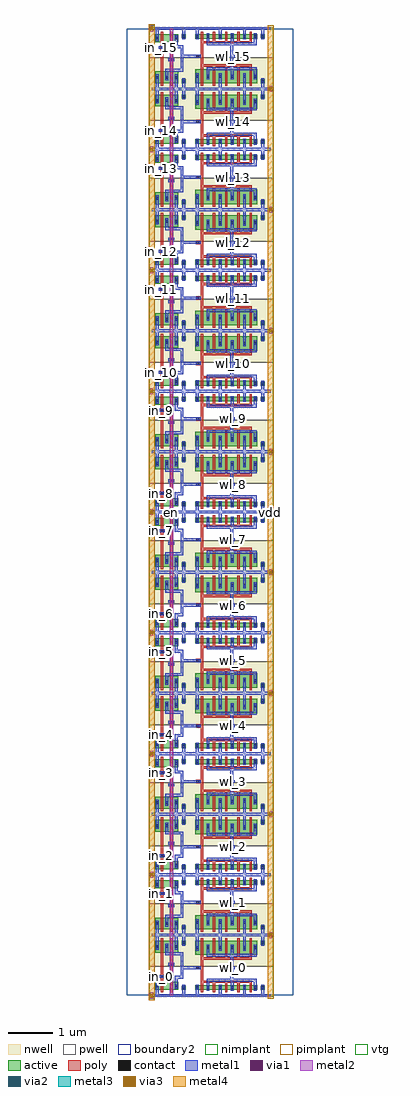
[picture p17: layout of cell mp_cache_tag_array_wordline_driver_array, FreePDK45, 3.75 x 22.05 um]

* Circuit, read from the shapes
.subckt mp_cache_tag_array_wordline_driver_array en gnd in_0 in_1 in_10 in_11 in_12 in_13 in_14 in_15 in_2 in_3 in_4 in_5 in_6 in_7 in_8 in_9 vdd wl_0 wl_1 wl_10 wl_11 wl_12 wl_13 wl_14 wl_15 wl_2 wl_3 wl_4 wl_5 wl_6 wl_7 wl_8 wl_9
M1 mp_cache_tag_array_wordline_driver_0/mp_cache_tag_array_pnand2_0/mp_cache_tag_array_nmos_m1_w0_180_sm1_dactive_2/D in_0 gnd gnd nfet w=0.18u l=0.05u
M2 mp_cache_tag_array_wordline_driver_1/mp_cache_tag_array_pnand2_0/mp_cache_tag_array_nmos_m1_w0_180_sm1_dactive_2/D in_1 gnd gnd nfet w=0.18u l=0.05u
M3 mp_cache_tag_array_wordline_driver_2/mp_cache_tag_array_pnand2_0/mp_cache_tag_array_nmos_m1_w0_180_sm1_dactive_2/D in_2 gnd gnd nfet w=0.18u l=0.05u
M4 mp_cache_tag_array_wordline_driver_3/mp_cache_tag_array_pnand2_0/mp_cache_tag_array_nmos_m1_w0_180_sm1_dactive_2/D in_3 gnd gnd nfet w=0.18u l=0.05u
M5 mp_cache_tag_array_wordline_driver_4/mp_cache_tag_array_pnand2_0/mp_cache_tag_array_nmos_m1_w0_180_sm1_dactive_2/D in_4 gnd gnd nfet w=0.18u l=0.05u
M6 mp_cache_tag_array_wordline_driver_5/mp_cache_tag_array_pnand2_0/mp_cache_tag_array_nmos_m1_w0_180_sm1_dactive_2/D in_5 gnd gnd nfet w=0.18u l=0.05u
M7 mp_cache_tag_array_wordline_driver_6/mp_cache_tag_array_pnand2_0/mp_cache_tag_array_nmos_m1_w0_180_sm1_dactive_2/D in_6 gnd gnd nfet w=0.18u l=0.05u
M8 mp_cache_tag_array_wordline_driver_7/mp_cache_tag_array_pnand2_0/mp_cache_tag_array_nmos_m1_w0_180_sm1_dactive_2/D in_7 gnd gnd nfet w=0.18u l=0.05u
M9 mp_cache_tag_array_wordline_driver_8/mp_cache_tag_array_pnand2_0/mp_cache_tag_array_nmos_m1_w0_180_sm1_dactive_2/D in_8 gnd gnd nfet w=0.18u l=0.05u
M10 mp_cache_tag_array_wordline_driver_9/mp_cache_tag_array_pnand2_0/mp_cache_tag_array_nmos_m1_w0_180_sm1_dactive_2/D in_9 gnd gnd nfet w=0.18u l=0.05u
M11 mp_cache_tag_array_wordline_driver_10/mp_cache_tag_array_pnand2_0/mp_cache_tag_array_nmos_m1_w0_180_sm1_dactive_2/D in_10 gnd gnd nfet w=0.18u l=0.05u
M12 mp_cache_tag_array_wordline_driver_11/mp_cache_tag_array_pnand2_0/mp_cache_tag_array_nmos_m1_w0_180_sm1_dactive_2/D in_11 gnd gnd nfet w=0.18u l=0.05u
M13 mp_cache_tag_array_wordline_driver_12/mp_cache_tag_array_pnand2_0/mp_cache_tag_array_nmos_m1_w0_180_sm1_dactive_2/D in_12 gnd gnd nfet w=0.18u l=0.05u
M14 mp_cache_tag_array_wordline_driver_13/mp_cache_tag_array_pnand2_0/mp_cache_tag_array_nmos_m1_w0_180_sm1_dactive_2/D in_13 gnd gnd nfet w=0.18u l=0.05u
M15 mp_cache_tag_array_wordline_driver_14/mp_cache_tag_array_pnand2_0/mp_cache_tag_array_nmos_m1_w0_180_sm1_dactive_2/D in_14 gnd gnd nfet w=0.18u l=0.05u
M16 mp_cache_tag_array_wordline_driver_15/mp_cache_tag_array_pnand2_0/mp_cache_tag_array_nmos_m1_w0_180_sm1_dactive_2/D in_15 gnd gnd nfet w=0.18u l=0.05u
M17 mp_cache_tag_array_wordline_driver_0/mp_cache_tag_array_pinv_0_1/A en mp_cache_tag_array_wordline_driver_0/mp_cache_tag_array_pnand2_0/mp_cache_tag_array_nmos_m1_w0_180_sm1_dactive_2/D gnd nfet w=0.18u l=0.05u
M18 mp_cache_tag_array_wordline_driver_1/mp_cache_tag_array_pinv_0_1/A en mp_cache_tag_array_wordline_driver_1/mp_cache_tag_array_pnand2_0/mp_cache_tag_array_nmos_m1_w0_180_sm1_dactive_2/D gnd nfet w=0.18u l=0.05u
M19 mp_cache_tag_array_wordline_driver_2/mp_cache_tag_array_pinv_0_1/A en mp_cache_tag_array_wordline_driver_2/mp_cache_tag_array_pnand2_0/mp_cache_tag_array_nmos_m1_w0_180_sm1_dactive_2/D gnd nfet w=0.18u l=0.05u
M20 mp_cache_tag_array_wordline_driver_3/mp_cache_tag_array_pinv_0_1/A en mp_cache_tag_array_wordline_driver_3/mp_cache_tag_array_pnand2_0/mp_cache_tag_array_nmos_m1_w0_180_sm1_dactive_2/D gnd nfet w=0.18u l=0.05u
M21 mp_cache_tag_array_wordline_driver_4/mp_cache_tag_array_pinv_0_1/A en mp_cache_tag_array_wordline_driver_4/mp_cache_tag_array_pnand2_0/mp_cache_tag_array_nmos_m1_w0_180_sm1_dactive_2/D gnd nfet w=0.18u l=0.05u
M22 mp_cache_tag_array_wordline_driver_5/mp_cache_tag_array_pinv_0_1/A en mp_cache_tag_array_wordline_driver_5/mp_cache_tag_array_pnand2_0/mp_cache_tag_array_nmos_m1_w0_180_sm1_dactive_2/D gnd nfet w=0.18u l=0.05u
M23 mp_cache_tag_array_wordline_driver_6/mp_cache_tag_array_pinv_0_1/A en mp_cache_tag_array_wordline_driver_6/mp_cache_tag_array_pnand2_0/mp_cache_tag_array_nmos_m1_w0_180_sm1_dactive_2/D gnd nfet w=0.18u l=0.05u
M24 mp_cache_tag_array_wordline_driver_7/mp_cache_tag_array_pinv_0_1/A en mp_cache_tag_array_wordline_driver_7/mp_cache_tag_array_pnand2_0/mp_cache_tag_array_nmos_m1_w0_180_sm1_dactive_2/D gnd nfet w=0.18u l=0.05u
M25 mp_cache_tag_array_wordline_driver_8/mp_cache_tag_array_pinv_0_1/A en mp_cache_tag_array_wordline_driver_8/mp_cache_tag_array_pnand2_0/mp_cache_tag_array_nmos_m1_w0_180_sm1_dactive_2/D gnd nfet w=0.18u l=0.05u
M26 mp_cache_tag_array_wordline_driver_9/mp_cache_tag_array_pinv_0_1/A en mp_cache_tag_array_wordline_driver_9/mp_cache_tag_array_pnand2_0/mp_cache_tag_array_nmos_m1_w0_180_sm1_dactive_2/D gnd nfet w=0.18u l=0.05u
M27 mp_cache_tag_array_wordline_driver_10/mp_cache_tag_array_pinv_0_1/A en mp_cache_tag_array_wordline_driver_10/mp_cache_tag_array_pnand2_0/mp_cache_tag_array_nmos_m1_w0_180_sm1_dactive_2/D gnd nfet w=0.18u l=0.05u
M28 mp_cache_tag_array_wordline_driver_11/mp_cache_tag_array_pinv_0_1/A en mp_cache_tag_array_wordline_driver_11/mp_cache_tag_array_pnand2_0/mp_cache_tag_array_nmos_m1_w0_180_sm1_dactive_2/D gnd nfet w=0.18u l=0.05u
M29 mp_cache_tag_array_wordline_driver_12/mp_cache_tag_array_pinv_0_1/A en mp_cache_tag_array_wordline_driver_12/mp_cache_tag_array_pnand2_0/mp_cache_tag_array_nmos_m1_w0_180_sm1_dactive_2/D gnd nfet w=0.18u l=0.05u
M30 mp_cache_tag_array_wordline_driver_13/mp_cache_tag_array_pinv_0_1/A en mp_cache_tag_array_wordline_driver_13/mp_cache_tag_array_pnand2_0/mp_cache_tag_array_nmos_m1_w0_180_sm1_dactive_2/D gnd nfet w=0.18u l=0.05u
M31 mp_cache_tag_array_wordline_driver_14/mp_cache_tag_array_pinv_0_1/A en mp_cache_tag_array_wordline_driver_14/mp_cache_tag_array_pnand2_0/mp_cache_tag_array_nmos_m1_w0_180_sm1_dactive_2/D gnd nfet w=0.18u l=0.05u
M32 mp_cache_tag_array_wordline_driver_15/mp_cache_tag_array_pinv_0_1/A en mp_cache_tag_array_wordline_driver_15/mp_cache_tag_array_pnand2_0/mp_cache_tag_array_nmos_m1_w0_180_sm1_dactive_2/D gnd nfet w=0.18u l=0.05u
M33 wl_0 mp_cache_tag_array_wordline_driver_0/mp_cache_tag_array_pinv_0_1/A gnd gnd nfet w=0.1075u l=0.05u m=5
M34 wl_1 mp_cache_tag_array_wordline_driver_1/mp_cache_tag_array_pinv_0_1/A gnd gnd nfet w=0.1075u l=0.05u m=5
M35 wl_2 mp_cache_tag_array_wordline_driver_2/mp_cache_tag_array_pinv_0_1/A gnd gnd nfet w=0.1075u l=0.05u m=5
M36 wl_3 mp_cache_tag_array_wordline_driver_3/mp_cache_tag_array_pinv_0_1/A gnd gnd nfet w=0.1075u l=0.05u m=5
M37 wl_4 mp_cache_tag_array_wordline_driver_4/mp_cache_tag_array_pinv_0_1/A gnd gnd nfet w=0.1075u l=0.05u m=5
M38 wl_5 mp_cache_tag_array_wordline_driver_5/mp_cache_tag_array_pinv_0_1/A gnd gnd nfet w=0.1075u l=0.05u m=5
M39 wl_6 mp_cache_tag_array_wordline_driver_6/mp_cache_tag_array_pinv_0_1/A gnd gnd nfet w=0.1075u l=0.05u m=5
M40 wl_7 mp_cache_tag_array_wordline_driver_7/mp_cache_tag_array_pinv_0_1/A gnd gnd nfet w=0.1075u l=0.05u m=5
M41 wl_8 mp_cache_tag_array_wordline_driver_8/mp_cache_tag_array_pinv_0_1/A gnd gnd nfet w=0.1075u l=0.05u m=5
M42 wl_9 mp_cache_tag_array_wordline_driver_9/mp_cache_tag_array_pinv_0_1/A gnd gnd nfet w=0.1075u l=0.05u m=5
M43 wl_10 mp_cache_tag_array_wordline_driver_10/mp_cache_tag_array_pinv_0_1/A gnd gnd nfet w=0.1075u l=0.05u m=5
M44 wl_11 mp_cache_tag_array_wordline_driver_11/mp_cache_tag_array_pinv_0_1/A gnd gnd nfet w=0.1075u l=0.05u m=5
M45 wl_12 mp_cache_tag_array_wordline_driver_12/mp_cache_tag_array_pinv_0_1/A gnd gnd nfet w=0.1075u l=0.05u m=5
M46 wl_13 mp_cache_tag_array_wordline_driver_13/mp_cache_tag_array_pinv_0_1/A gnd gnd nfet w=0.1075u l=0.05u m=5
M47 wl_14 mp_cache_tag_array_wordline_driver_14/mp_cache_tag_array_pinv_0_1/A gnd gnd nfet w=0.1075u l=0.05u m=5
M48 wl_15 mp_cache_tag_array_wordline_driver_15/mp_cache_tag_array_pinv_0_1/A gnd gnd nfet w=0.1075u l=0.05u m=5
M49 mp_cache_tag_array_wordline_driver_0/mp_cache_tag_array_pinv_0_1/A in_0 vdd vdd pfet w=0.27u l=0.05u
M50 mp_cache_tag_array_wordline_driver_1/mp_cache_tag_array_pinv_0_1/A in_1 vdd vdd pfet w=0.27u l=0.05u
M51 mp_cache_tag_array_wordline_driver_2/mp_cache_tag_array_pinv_0_1/A in_2 vdd vdd pfet w=0.27u l=0.05u
M52 mp_cache_tag_array_wordline_driver_3/mp_cache_tag_array_pinv_0_1/A in_3 vdd vdd pfet w=0.27u l=0.05u
M53 mp_cache_tag_array_wordline_driver_4/mp_cache_tag_array_pinv_0_1/A in_4 vdd vdd pfet w=0.27u l=0.05u
M54 mp_cache_tag_array_wordline_driver_5/mp_cache_tag_array_pinv_0_1/A in_5 vdd vdd pfet w=0.27u l=0.05u
M55 mp_cache_tag_array_wordline_driver_6/mp_cache_tag_array_pinv_0_1/A in_6 vdd vdd pfet w=0.27u l=0.05u
M56 mp_cache_tag_array_wordline_driver_7/mp_cache_tag_array_pinv_0_1/A in_7 vdd vdd pfet w=0.27u l=0.05u
M57 mp_cache_tag_array_wordline_driver_8/mp_cache_tag_array_pinv_0_1/A in_8 vdd vdd pfet w=0.27u l=0.05u
M58 mp_cache_tag_array_wordline_driver_9/mp_cache_tag_array_pinv_0_1/A in_9 vdd vdd pfet w=0.27u l=0.05u
M59 mp_cache_tag_array_wordline_driver_10/mp_cache_tag_array_pinv_0_1/A in_10 vdd vdd pfet w=0.27u l=0.05u
M60 mp_cache_tag_array_wordline_driver_11/mp_cache_tag_array_pinv_0_1/A in_11 vdd vdd pfet w=0.27u l=0.05u
M61 mp_cache_tag_array_wordline_driver_12/mp_cache_tag_array_pinv_0_1/A in_12 vdd vdd pfet w=0.27u l=0.05u
M62 mp_cache_tag_array_wordline_driver_13/mp_cache_tag_array_pinv_0_1/A in_13 vdd vdd pfet w=0.27u l=0.05u
M63 mp_cache_tag_array_wordline_driver_14/mp_cache_tag_array_pinv_0_1/A in_14 vdd vdd pfet w=0.27u l=0.05u
M64 mp_cache_tag_array_wordline_driver_15/mp_cache_tag_array_pinv_0_1/A in_15 vdd vdd pfet w=0.27u l=0.05u
M65 vdd en mp_cache_tag_array_wordline_driver_0/mp_cache_tag_array_pinv_0_1/A vdd pfet w=0.27u l=0.05u
M66 vdd en mp_cache_tag_array_wordline_driver_1/mp_cache_tag_array_pinv_0_1/A vdd pfet w=0.27u l=0.05u
M67 vdd en mp_cache_tag_array_wordline_driver_2/mp_cache_tag_array_pinv_0_1/A vdd pfet w=0.27u l=0.05u
M68 vdd en mp_cache_tag_array_wordline_driver_3/mp_cache_tag_array_pinv_0_1/A vdd pfet w=0.27u l=0.05u
M69 vdd en mp_cache_tag_array_wordline_driver_4/mp_cache_tag_array_pinv_0_1/A vdd pfet w=0.27u l=0.05u
M70 vdd en mp_cache_tag_array_wordline_driver_5/mp_cache_tag_array_pinv_0_1/A vdd pfet w=0.27u l=0.05u
M71 vdd en mp_cache_tag_array_wordline_driver_6/mp_cache_tag_array_pinv_0_1/A vdd pfet w=0.27u l=0.05u
M72 vdd en mp_cache_tag_array_wordline_driver_7/mp_cache_tag_array_pinv_0_1/A vdd pfet w=0.27u l=0.05u
M73 vdd en mp_cache_tag_array_wordline_driver_8/mp_cache_tag_array_pinv_0_1/A vdd pfet w=0.27u l=0.05u
M74 vdd en mp_cache_tag_array_wordline_driver_9/mp_cache_tag_array_pinv_0_1/A vdd pfet w=0.27u l=0.05u
M75 vdd en mp_cache_tag_array_wordline_driver_10/mp_cache_tag_array_pinv_0_1/A vdd pfet w=0.27u l=0.05u
M76 vdd en mp_cache_tag_array_wordline_driver_11/mp_cache_tag_array_pinv_0_1/A vdd pfet w=0.27u l=0.05u
M77 vdd en mp_cache_tag_array_wordline_driver_12/mp_cache_tag_array_pinv_0_1/A vdd pfet w=0.27u l=0.05u
M78 vdd en mp_cache_tag_array_wordline_driver_13/mp_cache_tag_array_pinv_0_1/A vdd pfet w=0.27u l=0.05u
M79 vdd en mp_cache_tag_array_wordline_driver_14/mp_cache_tag_array_pinv_0_1/A vdd pfet w=0.27u l=0.05u
M80 vdd en mp_cache_tag_array_wordline_driver_15/mp_cache_tag_array_pinv_0_1/A vdd pfet w=0.27u l=0.05u
M81 wl_0 mp_cache_tag_array_wordline_driver_0/mp_cache_tag_array_pinv_0_1/A vdd vdd pfet w=0.325u l=0.05u m=5
M82 wl_1 mp_cache_tag_array_wordline_driver_1/mp_cache_tag_array_pinv_0_1/A vdd vdd pfet w=0.325u l=0.05u m=5
M83 wl_2 mp_cache_tag_array_wordline_driver_2/mp_cache_tag_array_pinv_0_1/A vdd vdd pfet w=0.325u l=0.05u m=5
M84 wl_3 mp_cache_tag_array_wordline_driver_3/mp_cache_tag_array_pinv_0_1/A vdd vdd pfet w=0.325u l=0.05u m=5
M85 wl_4 mp_cache_tag_array_wordline_driver_4/mp_cache_tag_array_pinv_0_1/A vdd vdd pfet w=0.325u l=0.05u m=5
M86 wl_5 mp_cache_tag_array_wordline_driver_5/mp_cache_tag_array_pinv_0_1/A vdd vdd pfet w=0.325u l=0.05u m=5
M87 wl_6 mp_cache_tag_array_wordline_driver_6/mp_cache_tag_array_pinv_0_1/A vdd vdd pfet w=0.325u l=0.05u m=5
M88 wl_7 mp_cache_tag_array_wordline_driver_7/mp_cache_tag_array_pinv_0_1/A vdd vdd pfet w=0.325u l=0.05u m=5
M89 wl_8 mp_cache_tag_array_wordline_driver_8/mp_cache_tag_array_pinv_0_1/A vdd vdd pfet w=0.325u l=0.05u m=5
M90 wl_9 mp_cache_tag_array_wordline_driver_9/mp_cache_tag_array_pinv_0_1/A vdd vdd pfet w=0.325u l=0.05u m=5
M91 wl_10 mp_cache_tag_array_wordline_driver_10/mp_cache_tag_array_pinv_0_1/A vdd vdd pfet w=0.325u l=0.05u m=5
M92 wl_11 mp_cache_tag_array_wordline_driver_11/mp_cache_tag_array_pinv_0_1/A vdd vdd pfet w=0.325u l=0.05u m=5
M93 wl_12 mp_cache_tag_array_wordline_driver_12/mp_cache_tag_array_pinv_0_1/A vdd vdd pfet w=0.325u l=0.05u m=5
M94 wl_13 mp_cache_tag_array_wordline_driver_13/mp_cache_tag_array_pinv_0_1/A vdd vdd pfet w=0.325u l=0.05u m=5
M95 wl_14 mp_cache_tag_array_wordline_driver_14/mp_cache_tag_array_pinv_0_1/A vdd vdd pfet w=0.325u l=0.05u m=5
M96 wl_15 mp_cache_tag_array_wordline_driver_15/mp_cache_tag_array_pinv_0_1/A vdd vdd pfet w=0.325u l=0.05u m=5
.ends

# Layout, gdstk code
import gdstk
lib = gdstk.Library(unit=1e-6, precision=5e-10)
def R(c, l, rs):  # rectangles x0, y0, x1, y1
    for r in rs: c.add(gdstk.rectangle(r[:2], r[2:], *l))
def A(c, l, x, y, w, h, nx, ny, dx, dy):  # array of equal rectangles
    R(c, l, [(x+i*dx, y+j*dy, x+i*dx+w, y+j*dy+h) for i in range(nx) for j in range(ny)])
active = (1, 0)
pwell = (2, 0)
nwell = (3, 0)
nimplant = (4, 0)
pimplant = (5, 0)
vtg = (6, 0)
poly = (9, 0)
contact = (10, 0)
metal1 = (11, 0)
via1 = (12, 0)
metal2 = (13, 0)
via2 = (14, 0)
metal3 = (15, 0)
via3 = (16, 0)
metal4 = (17, 0)
boundary2 = (239, 0)

mp_cache_tag_array_conta = lib.new_cell('mp_cache_tag_array_contact_11')
R(mp_cache_tag_array_conta, active, [(0,0.0225,0.09,0.1125)])
R(mp_cache_tag_array_conta, nwell, [(-0.055,-0.0325,0.145,0.1675)])
R(mp_cache_tag_array_conta, pimplant, [(0,0.0225,0.09,0.1125)])
R(mp_cache_tag_array_conta, contact, [(0.0125,0.035,0.0775,0.1)])
R(mp_cache_tag_array_conta, metal1, [(0.0125,0,0.0775,0.135)])
R(mp_cache_tag_array_conta, boundary2, [(-0.055,-0.0325,0.145,0.1675)])

mp_cache_tag_array_pmos_ = lib.new_cell('mp_cache_tag_array_pmos_m1_w0_270_sm1_dm1')
R(mp_cache_tag_array_pmos_, active, [(0,0,0.305,0.27)])
R(mp_cache_tag_array_pmos_, nwell, [(-0.08,-0.08,0.385,0.35)])
R(mp_cache_tag_array_pmos_, pimplant, [(0,0,0.305,0.27)])
R(mp_cache_tag_array_pmos_, vtg, [(-0.08,-0.08,0.385,0.35)])
R(mp_cache_tag_array_pmos_, poly, [(0.1275,-0.055,0.1775,0.325), (0.1275,-0.055,0.1775,0.325)])
R(mp_cache_tag_array_pmos_, metal1, [(0.0125,0.0675,0.0775,0.2025), (0.2275,0.0675,0.2925,0.2025)])
R(mp_cache_tag_array_pmos_, boundary2, [(-0.08,-0.08,0.385,0.35)])
mp_cache_tag_array_pmos_.add(gdstk.Reference(mp_cache_tag_array_conta, (0,0.0675)))
mp_cache_tag_array_pmos_.add(gdstk.Reference(mp_cache_tag_array_conta, (0.215,0.0675)))
mp_cache_tag_array_pmos_.add(gdstk.Label('G', (0.1525,0.135), layer=9, texttype=0))
mp_cache_tag_array_pmos_.add(gdstk.Label('S', (0.045,0.135), layer=11, texttype=0))
mp_cache_tag_array_pmos_.add(gdstk.Label('D', (0.26,0.135), layer=11, texttype=0))

c_mp_cache_tag_array_conta = lib.new_cell('mp_cache_tag_array_contact_10')
R(c_mp_cache_tag_array_conta, active, [(0,0.0225,0.09,0.1125)])
R(c_mp_cache_tag_array_conta, pwell, [(-0.055,-0.0325,0.145,0.1675)])
R(c_mp_cache_tag_array_conta, nimplant, [(0,0.0225,0.09,0.1125)])
R(c_mp_cache_tag_array_conta, contact, [(0.0125,0.035,0.0775,0.1)])
R(c_mp_cache_tag_array_conta, metal1, [(0.0125,0,0.0775,0.135)])
R(c_mp_cache_tag_array_conta, boundary2, [(-0.055,-0.0325,0.145,0.1675)])

mp_cache_tag_array_nmos_ = lib.new_cell('mp_cache_tag_array_nmos_m1_w0_180_sm1_dactive')
R(mp_cache_tag_array_nmos_, active, [(0,0,0.305,0.18), (0.215,0.045,0.305,0.135)])
R(mp_cache_tag_array_nmos_, pwell, [(-0.08,-0.08,0.385,0.26)])
R(mp_cache_tag_array_nmos_, nimplant, [(0,0,0.305,0.18)])
R(mp_cache_tag_array_nmos_, vtg, [(-0.08,-0.08,0.385,0.26)])
R(mp_cache_tag_array_nmos_, poly, [(0.1275,-0.055,0.1775,0.235), (0.1275,-0.055,0.1775,0.235)])
R(mp_cache_tag_array_nmos_, metal1, [(0.0125,0.0225,0.0775,0.1575)])
R(mp_cache_tag_array_nmos_, boundary2, [(-0.08,-0.08,0.385,0.26)])
mp_cache_tag_array_nmos_.add(gdstk.Reference(c_mp_cache_tag_array_conta, (0,0.0225)))
mp_cache_tag_array_nmos_.add(gdstk.Label('G', (0.1525,0.09), layer=9, texttype=0))
mp_cache_tag_array_nmos_.add(gdstk.Label('S', (0.045,0.09), layer=11, texttype=0))
mp_cache_tag_array_nmos_.add(gdstk.Label('D', (0.26,0.09), layer=1, texttype=0))

c_mp_cache_tag_array_nmos_ = lib.new_cell('mp_cache_tag_array_nmos_m1_w0_180_sactive_dm1')
R(c_mp_cache_tag_array_nmos_, active, [(0,0,0.305,0.18), (0,0.045,0.09,0.135)])
R(c_mp_cache_tag_array_nmos_, pwell, [(-0.08,-0.08,0.385,0.26)])
R(c_mp_cache_tag_array_nmos_, nimplant, [(0,0,0.305,0.18)])
R(c_mp_cache_tag_array_nmos_, vtg, [(-0.08,-0.08,0.385,0.26)])
R(c_mp_cache_tag_array_nmos_, poly, [(0.1275,-0.055,0.1775,0.235), (0.1275,-0.055,0.1775,0.235)])
R(c_mp_cache_tag_array_nmos_, metal1, [(0.2275,0.0225,0.2925,0.1575)])
R(c_mp_cache_tag_array_nmos_, boundary2, [(-0.08,-0.08,0.385,0.26)])
c_mp_cache_tag_array_nmos_.add(gdstk.Reference(c_mp_cache_tag_array_conta, (0.215,0.0225)))
c_mp_cache_tag_array_nmos_.add(gdstk.Label('G', (0.1525,0.09), layer=9, texttype=0))
c_mp_cache_tag_array_nmos_.add(gdstk.Label('S', (0.045,0.09), layer=1, texttype=0))
c_mp_cache_tag_array_nmos_.add(gdstk.Label('D', (0.26,0.09), layer=11, texttype=0))

c_mp_cache_tag_array_conta_ = lib.new_cell('mp_cache_tag_array_contact_12')
R(c_mp_cache_tag_array_conta_, active, [(0,0.0225,0.09,0.1125)])
R(c_mp_cache_tag_array_conta_, nwell, [(-0.055,-0.0325,0.145,0.1675)])
R(c_mp_cache_tag_array_conta_, nimplant, [(0,0.0225,0.09,0.1125)])
R(c_mp_cache_tag_array_conta_, contact, [(0.0125,0.035,0.0775,0.1)])
R(c_mp_cache_tag_array_conta_, metal1, [(0.0125,0,0.0775,0.135)])
R(c_mp_cache_tag_array_conta_, boundary2, [(-0.055,-0.0325,0.145,0.1675)])

c_mp_cache_tag_array_conta__ = lib.new_cell('mp_cache_tag_array_contact_13')
R(c_mp_cache_tag_array_conta__, active, [(0,0.0225,0.09,0.1125)])
R(c_mp_cache_tag_array_conta__, pwell, [(-0.055,-0.0325,0.145,0.1675)])
R(c_mp_cache_tag_array_conta__, pimplant, [(0,0.0225,0.09,0.1125)])
R(c_mp_cache_tag_array_conta__, contact, [(0.0125,0.035,0.0775,0.1)])
R(c_mp_cache_tag_array_conta__, metal1, [(0.0125,0,0.0775,0.135)])
R(c_mp_cache_tag_array_conta__, boundary2, [(-0.055,-0.0325,0.145,0.1675)])

c_mp_cache_tag_array_conta___ = lib.new_cell('mp_cache_tag_array_contact_14')
R(c_mp_cache_tag_array_conta___, poly, [(0.03,0,0.105,0.075)])
R(c_mp_cache_tag_array_conta___, contact, [(0.035,0.005,0.1,0.07)])
R(c_mp_cache_tag_array_conta___, metal1, [(0,0.005,0.135,0.07)])
R(c_mp_cache_tag_array_conta___, boundary2, [(0,0,0.135,0.075)])

mp_cache_tag_array_pnand = lib.new_cell('mp_cache_tag_array_pnand2')
R(mp_cache_tag_array_pnand, pwell, [(-0.055,-0.0325,0.9575,0.655)])
R(mp_cache_tag_array_pnand, nwell, [(-0.055,0.655,0.9575,1.4)])
R(mp_cache_tag_array_pnand, vtg, [(-0.055,-0.0325,0.9575,0.655), (-0.055,0.655,0.9575,1.4)])
R(mp_cache_tag_array_pnand, poly, [(0.2075,0.36,0.2575,0.915), (0.4225,0.36,0.4725,0.915), (0.2075,0.39,0.2325,0.465), (0.4225,0.67,0.4475,0.745)])
R(mp_cache_tag_array_pnand, metal1, [(0,-0.0325,0.9025,0.0325), (0.0925,-0.0325,0.1575,0.1475), (0.6925,0,0.7575,0.17), (0.5225,0.2825,0.5875,0.4125), (0.5225,0.38,0.5875,0.445), (0.555,0.38,0.685,0.445), (0.6525,0.38,0.7175,0.445), (0.165,0.395,0.3,0.46), (0.6525,0.4125,0.7175,0.94), (0.38,0.675,0.515,0.74), (0.3075,0.9075,0.3725,0.9725), (0.34,0.9075,0.685,0.9725), (0.6525,0.9075,0.7175,0.9725), (0.3075,0.94,0.3725,1.0375), (0.0925,1.0375,0.1575,1.3975), (0.5225,1.0375,0.5875,1.3975), (0.6925,1.195,0.7575,1.365), (0,1.3325,0.9025,1.3975)])
R(mp_cache_tag_array_pnand, boundary2, [(0,0,0.9025,1.365), (0,0,0.9025,1.365)])
mp_cache_tag_array_pnand.add(gdstk.Reference(mp_cache_tag_array_pmos_, (0.08,0.97)))
mp_cache_tag_array_pnand.add(gdstk.Reference(mp_cache_tag_array_pmos_, (0.295,0.97)))
mp_cache_tag_array_pnand.add(gdstk.Reference(mp_cache_tag_array_nmos_, (0.08,0.125)))
mp_cache_tag_array_pnand.add(gdstk.Reference(c_mp_cache_tag_array_nmos_, (0.295,0.125)))
mp_cache_tag_array_pnand.add(gdstk.Reference(c_mp_cache_tag_array_conta_, (0.68,1.1275)))
mp_cache_tag_array_pnand.add(gdstk.Reference(c_mp_cache_tag_array_conta__, (0.68,0.1025)))
mp_cache_tag_array_pnand.add(gdstk.Reference(c_mp_cache_tag_array_conta___, (0.165,0.39)))
mp_cache_tag_array_pnand.add(gdstk.Reference(c_mp_cache_tag_array_conta___, (0.38,0.67)))
mp_cache_tag_array_pnand.add(gdstk.Label('Z', (0.685,0.94), layer=11, texttype=0))
mp_cache_tag_array_pnand.add(gdstk.Label('gnd', (0.451,0), layer=11, texttype=0))
mp_cache_tag_array_pnand.add(gdstk.Label('vdd', (0.451,1.365), layer=11, texttype=0))
mp_cache_tag_array_pnand.add(gdstk.Label('A', (0.2325,0.4275), layer=11, texttype=0))
mp_cache_tag_array_pnand.add(gdstk.Label('B', (0.4475,0.7075), layer=11, texttype=0))

c_mp_cache_tag_array_pmos_ = lib.new_cell('mp_cache_tag_array_pmos_m5_w0_325_sm1_dm1_da_p')
R(c_mp_cache_tag_array_pmos_, active, [(0,0,1.405,0.325)])
R(c_mp_cache_tag_array_pmos_, nwell, [(-0.08,-0.08,1.485,0.405)])
R(c_mp_cache_tag_array_pmos_, pimplant, [(0,0,1.405,0.325)])
R(c_mp_cache_tag_array_pmos_, vtg, [(-0.08,-0.08,1.485,0.405)])
A(c_mp_cache_tag_array_pmos_, poly, 0.1275, -0.055, 0.05, 0.435, 5, 1, 0.275, 0)
R(c_mp_cache_tag_array_pmos_, poly, [(0.1275,-0.105,1.2775,-0.055)])
R(c_mp_cache_tag_array_pmos_, metal1, [(0.2575,-0.035,1.3925,0.03), (0.2575,-0.0025,0.3225,0.1625), (0.8075,-0.0025,0.8725,0.1625), (1.3275,-0.0025,1.3925,0.1625), (0.0125,0.095,0.0775,0.23), (0.5325,0.095,0.5975,0.23), (1.0825,0.095,1.1475,0.23)])
R(c_mp_cache_tag_array_pmos_, boundary2, [(-0.08,-0.105,1.485,0.405)])
c_mp_cache_tag_array_pmos_.add(gdstk.Reference(mp_cache_tag_array_conta, (0,0.095)))
c_mp_cache_tag_array_pmos_.add(gdstk.Reference(mp_cache_tag_array_conta, (0.245,0.095)))
c_mp_cache_tag_array_pmos_.add(gdstk.Reference(mp_cache_tag_array_conta, (0.52,0.095)))
c_mp_cache_tag_array_pmos_.add(gdstk.Reference(mp_cache_tag_array_conta, (0.795,0.095)))
c_mp_cache_tag_array_pmos_.add(gdstk.Reference(mp_cache_tag_array_conta, (1.07,0.095)))
c_mp_cache_tag_array_pmos_.add(gdstk.Reference(mp_cache_tag_array_conta, (1.315,0.095)))
c_mp_cache_tag_array_pmos_.add(gdstk.Label('G', (0.7025,-0.08), layer=9, texttype=0))
c_mp_cache_tag_array_pmos_.add(gdstk.Label('S', (0.565,0.1625), layer=11, texttype=0))
c_mp_cache_tag_array_pmos_.add(gdstk.Label('S', (0.045,0.1625), layer=11, texttype=0))
c_mp_cache_tag_array_pmos_.add(gdstk.Label('S', (1.115,0.1625), layer=11, texttype=0))
c_mp_cache_tag_array_pmos_.add(gdstk.Label('D', (0.825,-0.0025), layer=11, texttype=0))

c_mp_cache_tag_array_nmos__ = lib.new_cell('mp_cache_tag_array_nmos_m5_w0_107_sm1_dm1_da_p')
R(c_mp_cache_tag_array_nmos__, active, [(0,0,1.405,0.1075)])
R(c_mp_cache_tag_array_nmos__, pwell, [(-0.08,-0.08,1.485,0.1875)])
R(c_mp_cache_tag_array_nmos__, nimplant, [(0,0,1.405,0.1075)])
R(c_mp_cache_tag_array_nmos__, vtg, [(-0.08,-0.08,1.485,0.1875)])
A(c_mp_cache_tag_array_nmos__, poly, 0.1275, -0.055, 0.05, 0.2175, 5, 1, 0.275, 0)
R(c_mp_cache_tag_array_nmos__, poly, [(0.1275,0.1625,1.2775,0.2125)])
R(c_mp_cache_tag_array_nmos__, metal1, [(0.0125,-0.015,0.0775,0.12), (0.5325,-0.015,0.5975,0.12), (1.0825,-0.015,1.1475,0.12), (0.2575,0.055,0.3225,0.22), (0.8075,0.055,0.8725,0.22), (1.3275,0.055,1.3925,0.22), (0.2575,0.185,1.3925,0.25)])
R(c_mp_cache_tag_array_nmos__, boundary2, [(-0.08,-0.08,1.485,0.25)])
c_mp_cache_tag_array_nmos__.add(gdstk.Reference(c_mp_cache_tag_array_conta, (0,-0.015)))
c_mp_cache_tag_array_nmos__.add(gdstk.Reference(c_mp_cache_tag_array_conta, (0.245,-0.015)))
c_mp_cache_tag_array_nmos__.add(gdstk.Reference(c_mp_cache_tag_array_conta, (0.52,-0.015)))
c_mp_cache_tag_array_nmos__.add(gdstk.Reference(c_mp_cache_tag_array_conta, (0.795,-0.015)))
c_mp_cache_tag_array_nmos__.add(gdstk.Reference(c_mp_cache_tag_array_conta, (1.07,-0.015)))
c_mp_cache_tag_array_nmos__.add(gdstk.Reference(c_mp_cache_tag_array_conta, (1.315,-0.015)))
c_mp_cache_tag_array_nmos__.add(gdstk.Label('G', (0.7025,0.1875), layer=9, texttype=0))
c_mp_cache_tag_array_nmos__.add(gdstk.Label('S', (0.565,0.0525), layer=11, texttype=0))
c_mp_cache_tag_array_nmos__.add(gdstk.Label('S', (1.115,0.0525), layer=11, texttype=0))
c_mp_cache_tag_array_nmos__.add(gdstk.Label('S', (0.045,0.0525), layer=11, texttype=0))
c_mp_cache_tag_array_nmos__.add(gdstk.Label('D', (0.825,0.2175), layer=11, texttype=0))

mp_cache_tag_array_pinv_ = lib.new_cell('mp_cache_tag_array_pinv_0')
R(mp_cache_tag_array_pinv_, pwell, [(-0.055,-0.0325,1.8425,0.655)])
R(mp_cache_tag_array_pinv_, nwell, [(-0.055,0.655,1.8425,1.4)])
R(mp_cache_tag_array_pinv_, vtg, [(-0.055,-0.0325,1.8425,0.655), (-0.055,0.655,1.8425,1.4)])
R(mp_cache_tag_array_pinv_, poly, [(0.2075,0.3375,0.2575,0.81), (0.14,0.59,0.2075,0.665)])
R(mp_cache_tag_array_pinv_, metal1, [(0,-0.0325,1.7875,0.0325), (0.0925,-0.0325,0.1575,0.11), (0.6125,-0.0325,0.6775,0.11), (1.1625,-0.0325,1.2275,0.11), (1.5775,0,1.6425,0.17), (0.8725,0.31,0.9375,0.945), (0.0725,0.595,0.2075,0.66), (0.905,0.595,0.97,0.66), (0.0925,1.01,0.1575,1.3975), (0.6125,1.01,0.6775,1.3975), (1.1625,1.01,1.2275,1.3975), (1.5775,1.195,1.6425,1.365), (0,1.3325,1.7875,1.3975)])
R(mp_cache_tag_array_pinv_, boundary2, [(0,0,1.7875,1.365), (0,0,1.7875,1.365)])
mp_cache_tag_array_pinv_.add(gdstk.Reference(c_mp_cache_tag_array_pmos_, (0.08,0.915)))
mp_cache_tag_array_pinv_.add(gdstk.Reference(c_mp_cache_tag_array_nmos__, (0.08,0.125)))
mp_cache_tag_array_pinv_.add(gdstk.Reference(c_mp_cache_tag_array_conta_, (1.565,1.1275)))
mp_cache_tag_array_pinv_.add(gdstk.Reference(c_mp_cache_tag_array_conta__, (1.565,0.1025)))
mp_cache_tag_array_pinv_.add(gdstk.Reference(c_mp_cache_tag_array_conta___, (0.0725,0.59)))
mp_cache_tag_array_pinv_.add(gdstk.Label('A', (0.14,0.6275), layer=11, texttype=0))
mp_cache_tag_array_pinv_.add(gdstk.Label('Z', (0.9375,0.6275), layer=11, texttype=0))
mp_cache_tag_array_pinv_.add(gdstk.Label('gnd', (0.894,0), layer=11, texttype=0))
mp_cache_tag_array_pinv_.add(gdstk.Label('vdd', (0.894,1.365), layer=11, texttype=0))

mp_cache_tag_array_wordl = lib.new_cell('mp_cache_tag_array_wordline_driver')
R(mp_cache_tag_array_wordl, metal1, [(0,-0.0325,2.69,0.0325), (0.165,0.395,0.3,0.46), (0.6525,0.595,0.7175,0.66), (0.685,0.595,1.0425,0.66), (1.8075,0.595,1.8725,0.66), (0.6525,0.6275,0.7175,0.94), (0.38,0.675,0.515,0.74), (0,1.3325,2.69,1.3975)])
R(mp_cache_tag_array_wordl, boundary2, [(0,0,2.69,1.365)])
mp_cache_tag_array_wordl.add(gdstk.Reference(mp_cache_tag_array_pnand, (0,0)))
mp_cache_tag_array_wordl.add(gdstk.Reference(mp_cache_tag_array_pinv_, (0.9025,0)))
mp_cache_tag_array_wordl.add(gdstk.Label('Z', (1.84,0.6275), layer=11, texttype=0))
mp_cache_tag_array_wordl.add(gdstk.Label('A', (0.2325,0.4275), layer=11, texttype=0))
mp_cache_tag_array_wordl.add(gdstk.Label('B', (0.4475,0.7075), layer=11, texttype=0))
mp_cache_tag_array_wordl.add(gdstk.Label('gnd', (1.345,0), layer=11, texttype=0))
mp_cache_tag_array_wordl.add(gdstk.Label('vdd', (1.345,1.365), layer=11, texttype=0))

c_mp_cache_tag_array_conta____ = lib.new_cell('mp_cache_tag_array_contact_17')
R(c_mp_cache_tag_array_conta____, metal1, [(0,0.035,0.135,0.1)])
R(c_mp_cache_tag_array_conta____, via1, [(0.035,0.035,0.1,0.1)])
R(c_mp_cache_tag_array_conta____, metal2, [(0.0325,0,0.1025,0.135)])
R(c_mp_cache_tag_array_conta____, boundary2, [(0,0,0.135,0.135)])

c_mp_cache_tag_array_conta_____ = lib.new_cell('mp_cache_tag_array_contact_18')
R(c_mp_cache_tag_array_conta_____, metal2, [(0.0325,0,0.1025,0.135)])
R(c_mp_cache_tag_array_conta_____, via2, [(0.035,0.035,0.1,0.1)])
R(c_mp_cache_tag_array_conta_____, metal3, [(0,0.0325,0.135,0.1025)])
R(c_mp_cache_tag_array_conta_____, boundary2, [(0,0,0.135,0.135)])

c_mp_cache_tag_array_conta______ = lib.new_cell('mp_cache_tag_array_contact_21')
R(c_mp_cache_tag_array_conta______, metal3, [(0,0.035,0.14,0.105)])
R(c_mp_cache_tag_array_conta______, via3, [(0.035,0.035,0.105,0.105)])
R(c_mp_cache_tag_array_conta______, metal4, [(0,0,0.14,0.14)])
R(c_mp_cache_tag_array_conta______, boundary2, [(0,0,0.14,0.14)])

c_mp_cache_tag_array_wordl = lib.new_cell('mp_cache_tag_array_wordline_driver_array')
R(c_mp_cache_tag_array_wordl, metal1, [(0.725,0.395,0.86,0.46), (2.3675,0.595,2.4325,0.66), (2.3675,2.07,2.4325,2.135), (0.725,2.27,0.86,2.335), (0.725,3.125,0.86,3.19), (2.3675,3.325,2.4325,3.39), (2.3675,4.8,2.4325,4.865), (0.725,5,0.86,5.065), (0.725,5.855,0.86,5.92), (2.3675,6.055,2.4325,6.12), (2.3675,7.53,2.4325,7.595), (0.725,7.73,0.86,7.795), (0.725,8.585,0.86,8.65), (2.3675,8.785,2.4325,8.85), (2.3675,10.26,2.4325,10.325), (0.725,10.46,0.86,10.525), (0.725,11.315,0.86,11.38), (2.3675,11.515,2.4325,11.58), (2.3675,12.99,2.4325,13.055), (0.725,13.19,0.86,13.255), (0.725,14.045,0.86,14.11), (2.3675,14.245,2.4325,14.31), (2.3675,15.72,2.4325,15.785), (0.725,15.92,0.86,15.985), (0.725,16.775,0.86,16.84), (2.3675,16.975,2.4325,17.04), (2.3675,18.45,2.4325,18.515), (0.725,18.65,0.86,18.715), (0.725,19.505,0.86,19.57), (2.3675,19.705,2.4325,19.77), (2.3675,21.18,2.4325,21.245), (0.725,21.38,0.86,21.445)])
R(c_mp_cache_tag_array_wordl, metal2, [(0.9725,0,1.0425,21.84)])
R(c_mp_cache_tag_array_wordl, metal4, [(0.49,-0.1025,0.63,21.9425), (3.18,-0.07,3.32,21.91)])
R(c_mp_cache_tag_array_wordl, boundary2, [(0,0,3.755,21.84)])
c_mp_cache_tag_array_wordl.add(gdstk.Reference(mp_cache_tag_array_wordl, (0.56,0)))
c_mp_cache_tag_array_wordl.add(gdstk.Reference(mp_cache_tag_array_wordl, (0.56,2.73), x_reflection=True))
c_mp_cache_tag_array_wordl.add(gdstk.Reference(mp_cache_tag_array_wordl, (0.56,2.73)))
c_mp_cache_tag_array_wordl.add(gdstk.Reference(mp_cache_tag_array_wordl, (0.56,5.46), x_reflection=True))
c_mp_cache_tag_array_wordl.add(gdstk.Reference(mp_cache_tag_array_wordl, (0.56,5.46)))
c_mp_cache_tag_array_wordl.add(gdstk.Reference(mp_cache_tag_array_wordl, (0.56,8.19), x_reflection=True))
c_mp_cache_tag_array_wordl.add(gdstk.Reference(mp_cache_tag_array_wordl, (0.56,8.19)))
c_mp_cache_tag_array_wordl.add(gdstk.Reference(mp_cache_tag_array_wordl, (0.56,10.92), x_reflection=True))
c_mp_cache_tag_array_wordl.add(gdstk.Reference(mp_cache_tag_array_wordl, (0.56,10.92)))
c_mp_cache_tag_array_wordl.add(gdstk.Reference(mp_cache_tag_array_wordl, (0.56,13.65), x_reflection=True))
c_mp_cache_tag_array_wordl.add(gdstk.Reference(mp_cache_tag_array_wordl, (0.56,13.65)))
c_mp_cache_tag_array_wordl.add(gdstk.Reference(mp_cache_tag_array_wordl, (0.56,16.38), x_reflection=True))
c_mp_cache_tag_array_wordl.add(gdstk.Reference(mp_cache_tag_array_wordl, (0.56,16.38)))
c_mp_cache_tag_array_wordl.add(gdstk.Reference(mp_cache_tag_array_wordl, (0.56,19.11), x_reflection=True))
c_mp_cache_tag_array_wordl.add(gdstk.Reference(mp_cache_tag_array_wordl, (0.56,19.11)))
c_mp_cache_tag_array_wordl.add(gdstk.Reference(mp_cache_tag_array_wordl, (0.56,21.84), x_reflection=True))
c_mp_cache_tag_array_wordl.add(gdstk.Reference(c_mp_cache_tag_array_conta____, (0.94,0.64)))
c_mp_cache_tag_array_wordl.add(gdstk.Reference(c_mp_cache_tag_array_conta____, (0.94,1.955)))
c_mp_cache_tag_array_wordl.add(gdstk.Reference(c_mp_cache_tag_array_conta____, (0.94,3.37)))
c_mp_cache_tag_array_wordl.add(gdstk.Reference(c_mp_cache_tag_array_conta____, (0.94,4.685)))
c_mp_cache_tag_array_wordl.add(gdstk.Reference(c_mp_cache_tag_array_conta____, (0.94,6.1)))
c_mp_cache_tag_array_wordl.add(gdstk.Reference(c_mp_cache_tag_array_conta____, (0.94,7.415)))
c_mp_cache_tag_array_wordl.add(gdstk.Reference(c_mp_cache_tag_array_conta____, (0.94,8.83)))
c_mp_cache_tag_array_wordl.add(gdstk.Reference(c_mp_cache_tag_array_conta____, (0.94,10.145)))
c_mp_cache_tag_array_wordl.add(gdstk.Reference(c_mp_cache_tag_array_conta____, (0.94,11.56)))
c_mp_cache_tag_array_wordl.add(gdstk.Reference(c_mp_cache_tag_array_conta____, (0.94,12.875)))
c_mp_cache_tag_array_wordl.add(gdstk.Reference(c_mp_cache_tag_array_conta____, (0.94,14.29)))
c_mp_cache_tag_array_wordl.add(gdstk.Reference(c_mp_cache_tag_array_conta____, (0.94,15.605)))
c_mp_cache_tag_array_wordl.add(gdstk.Reference(c_mp_cache_tag_array_conta____, (0.94,17.02)))
c_mp_cache_tag_array_wordl.add(gdstk.Reference(c_mp_cache_tag_array_conta____, (0.94,18.335)))
c_mp_cache_tag_array_wordl.add(gdstk.Reference(c_mp_cache_tag_array_conta____, (0.94,19.75)))
c_mp_cache_tag_array_wordl.add(gdstk.Reference(c_mp_cache_tag_array_conta____, (0.94,21.065)))
c_mp_cache_tag_array_wordl.add(gdstk.Reference(c_mp_cache_tag_array_conta____, (3.1825,1.2975)))
c_mp_cache_tag_array_wordl.add(gdstk.Reference(c_mp_cache_tag_array_conta_____, (3.1825,1.2975)))
c_mp_cache_tag_array_wordl.add(gdstk.Reference(c_mp_cache_tag_array_conta______, (3.18,1.295)))
c_mp_cache_tag_array_wordl.add(gdstk.Reference(c_mp_cache_tag_array_conta____, (3.1825,1.2975)))
c_mp_cache_tag_array_wordl.add(gdstk.Reference(c_mp_cache_tag_array_conta_____, (3.1825,1.2975)))
c_mp_cache_tag_array_wordl.add(gdstk.Reference(c_mp_cache_tag_array_conta______, (3.18,1.295)))
c_mp_cache_tag_array_wordl.add(gdstk.Reference(c_mp_cache_tag_array_conta____, (3.1825,4.0275)))
c_mp_cache_tag_array_wordl.add(gdstk.Reference(c_mp_cache_tag_array_conta_____, (3.1825,4.0275)))
c_mp_cache_tag_array_wordl.add(gdstk.Reference(c_mp_cache_tag_array_conta______, (3.18,4.025)))
c_mp_cache_tag_array_wordl.add(gdstk.Reference(c_mp_cache_tag_array_conta____, (3.1825,4.0275)))
c_mp_cache_tag_array_wordl.add(gdstk.Reference(c_mp_cache_tag_array_conta_____, (3.1825,4.0275)))
c_mp_cache_tag_array_wordl.add(gdstk.Reference(c_mp_cache_tag_array_conta______, (3.18,4.025)))
c_mp_cache_tag_array_wordl.add(gdstk.Reference(c_mp_cache_tag_array_conta____, (3.1825,6.7575)))
c_mp_cache_tag_array_wordl.add(gdstk.Reference(c_mp_cache_tag_array_conta_____, (3.1825,6.7575)))
c_mp_cache_tag_array_wordl.add(gdstk.Reference(c_mp_cache_tag_array_conta______, (3.18,6.755)))
c_mp_cache_tag_array_wordl.add(gdstk.Reference(c_mp_cache_tag_array_conta____, (3.1825,6.7575)))
c_mp_cache_tag_array_wordl.add(gdstk.Reference(c_mp_cache_tag_array_conta_____, (3.1825,6.7575)))
c_mp_cache_tag_array_wordl.add(gdstk.Reference(c_mp_cache_tag_array_conta______, (3.18,6.755)))
c_mp_cache_tag_array_wordl.add(gdstk.Reference(c_mp_cache_tag_array_conta____, (3.1825,9.4875)))
c_mp_cache_tag_array_wordl.add(gdstk.Reference(c_mp_cache_tag_array_conta_____, (3.1825,9.4875)))
c_mp_cache_tag_array_wordl.add(gdstk.Reference(c_mp_cache_tag_array_conta______, (3.18,9.485)))
c_mp_cache_tag_array_wordl.add(gdstk.Reference(c_mp_cache_tag_array_conta____, (3.1825,9.4875)))
c_mp_cache_tag_array_wordl.add(gdstk.Reference(c_mp_cache_tag_array_conta_____, (3.1825,9.4875)))
c_mp_cache_tag_array_wordl.add(gdstk.Reference(c_mp_cache_tag_array_conta______, (3.18,9.485)))
c_mp_cache_tag_array_wordl.add(gdstk.Reference(c_mp_cache_tag_array_conta____, (3.1825,12.2175)))
c_mp_cache_tag_array_wordl.add(gdstk.Reference(c_mp_cache_tag_array_conta_____, (3.1825,12.2175)))
c_mp_cache_tag_array_wordl.add(gdstk.Reference(c_mp_cache_tag_array_conta______, (3.18,12.215)))
c_mp_cache_tag_array_wordl.add(gdstk.Reference(c_mp_cache_tag_array_conta____, (3.1825,12.2175)))
c_mp_cache_tag_array_wordl.add(gdstk.Reference(c_mp_cache_tag_array_conta_____, (3.1825,12.2175)))
c_mp_cache_tag_array_wordl.add(gdstk.Reference(c_mp_cache_tag_array_conta______, (3.18,12.215)))
c_mp_cache_tag_array_wordl.add(gdstk.Reference(c_mp_cache_tag_array_conta____, (3.1825,14.9475)))
c_mp_cache_tag_array_wordl.add(gdstk.Reference(c_mp_cache_tag_array_conta_____, (3.1825,14.9475)))
c_mp_cache_tag_array_wordl.add(gdstk.Reference(c_mp_cache_tag_array_conta______, (3.18,14.945)))
c_mp_cache_tag_array_wordl.add(gdstk.Reference(c_mp_cache_tag_array_conta____, (3.1825,14.9475)))
c_mp_cache_tag_array_wordl.add(gdstk.Reference(c_mp_cache_tag_array_conta_____, (3.1825,14.9475)))
c_mp_cache_tag_array_wordl.add(gdstk.Reference(c_mp_cache_tag_array_conta______, (3.18,14.945)))
c_mp_cache_tag_array_wordl.add(gdstk.Reference(c_mp_cache_tag_array_conta____, (3.1825,17.6775)))
c_mp_cache_tag_array_wordl.add(gdstk.Reference(c_mp_cache_tag_array_conta_____, (3.1825,17.6775)))
c_mp_cache_tag_array_wordl.add(gdstk.Reference(c_mp_cache_tag_array_conta______, (3.18,17.675)))
c_mp_cache_tag_array_wordl.add(gdstk.Reference(c_mp_cache_tag_array_conta____, (3.1825,17.6775)))
c_mp_cache_tag_array_wordl.add(gdstk.Reference(c_mp_cache_tag_array_conta_____, (3.1825,17.6775)))
c_mp_cache_tag_array_wordl.add(gdstk.Reference(c_mp_cache_tag_array_conta______, (3.18,17.675)))
c_mp_cache_tag_array_wordl.add(gdstk.Reference(c_mp_cache_tag_array_conta____, (3.1825,20.4075)))
c_mp_cache_tag_array_wordl.add(gdstk.Reference(c_mp_cache_tag_array_conta_____, (3.1825,20.4075)))
c_mp_cache_tag_array_wordl.add(gdstk.Reference(c_mp_cache_tag_array_conta______, (3.18,20.405)))
c_mp_cache_tag_array_wordl.add(gdstk.Reference(c_mp_cache_tag_array_conta____, (3.1825,20.4075)))
c_mp_cache_tag_array_wordl.add(gdstk.Reference(c_mp_cache_tag_array_conta_____, (3.1825,20.4075)))
c_mp_cache_tag_array_wordl.add(gdstk.Reference(c_mp_cache_tag_array_conta______, (3.18,20.405)))
c_mp_cache_tag_array_wordl.add(gdstk.Reference(c_mp_cache_tag_array_conta____, (0.4925,-0.0675)))
c_mp_cache_tag_array_wordl.add(gdstk.Reference(c_mp_cache_tag_array_conta_____, (0.4925,-0.0675)))
c_mp_cache_tag_array_wordl.add(gdstk.Reference(c_mp_cache_tag_array_conta______, (0.49,-0.07)))
c_mp_cache_tag_array_wordl.add(gdstk.Reference(c_mp_cache_tag_array_conta____, (0.4925,2.6625)))
c_mp_cache_tag_array_wordl.add(gdstk.Reference(c_mp_cache_tag_array_conta_____, (0.4925,2.6625)))
c_mp_cache_tag_array_wordl.add(gdstk.Reference(c_mp_cache_tag_array_conta______, (0.49,2.66)))
c_mp_cache_tag_array_wordl.add(gdstk.Reference(c_mp_cache_tag_array_conta____, (0.4925,2.6625)))
c_mp_cache_tag_array_wordl.add(gdstk.Reference(c_mp_cache_tag_array_conta_____, (0.4925,2.6625)))
c_mp_cache_tag_array_wordl.add(gdstk.Reference(c_mp_cache_tag_array_conta______, (0.49,2.66)))
c_mp_cache_tag_array_wordl.add(gdstk.Reference(c_mp_cache_tag_array_conta____, (0.4925,5.3925)))
c_mp_cache_tag_array_wordl.add(gdstk.Reference(c_mp_cache_tag_array_conta_____, (0.4925,5.3925)))
c_mp_cache_tag_array_wordl.add(gdstk.Reference(c_mp_cache_tag_array_conta______, (0.49,5.39)))
c_mp_cache_tag_array_wordl.add(gdstk.Reference(c_mp_cache_tag_array_conta____, (0.4925,5.3925)))
c_mp_cache_tag_array_wordl.add(gdstk.Reference(c_mp_cache_tag_array_conta_____, (0.4925,5.3925)))
c_mp_cache_tag_array_wordl.add(gdstk.Reference(c_mp_cache_tag_array_conta______, (0.49,5.39)))
c_mp_cache_tag_array_wordl.add(gdstk.Reference(c_mp_cache_tag_array_conta____, (0.4925,8.1225)))
c_mp_cache_tag_array_wordl.add(gdstk.Reference(c_mp_cache_tag_array_conta_____, (0.4925,8.1225)))
c_mp_cache_tag_array_wordl.add(gdstk.Reference(c_mp_cache_tag_array_conta______, (0.49,8.12)))
c_mp_cache_tag_array_wordl.add(gdstk.Reference(c_mp_cache_tag_array_conta____, (0.4925,8.1225)))
c_mp_cache_tag_array_wordl.add(gdstk.Reference(c_mp_cache_tag_array_conta_____, (0.4925,8.1225)))
c_mp_cache_tag_array_wordl.add(gdstk.Reference(c_mp_cache_tag_array_conta______, (0.49,8.12)))
c_mp_cache_tag_array_wordl.add(gdstk.Reference(c_mp_cache_tag_array_conta____, (0.4925,10.8525)))
c_mp_cache_tag_array_wordl.add(gdstk.Reference(c_mp_cache_tag_array_conta_____, (0.4925,10.8525)))
c_mp_cache_tag_array_wordl.add(gdstk.Reference(c_mp_cache_tag_array_conta______, (0.49,10.85)))
c_mp_cache_tag_array_wordl.add(gdstk.Reference(c_mp_cache_tag_array_conta____, (0.4925,10.8525)))
c_mp_cache_tag_array_wordl.add(gdstk.Reference(c_mp_cache_tag_array_conta_____, (0.4925,10.8525)))
c_mp_cache_tag_array_wordl.add(gdstk.Reference(c_mp_cache_tag_array_conta______, (0.49,10.85)))
c_mp_cache_tag_array_wordl.add(gdstk.Reference(c_mp_cache_tag_array_conta____, (0.4925,13.5825)))
c_mp_cache_tag_array_wordl.add(gdstk.Reference(c_mp_cache_tag_array_conta_____, (0.4925,13.5825)))
c_mp_cache_tag_array_wordl.add(gdstk.Reference(c_mp_cache_tag_array_conta______, (0.49,13.58)))
c_mp_cache_tag_array_wordl.add(gdstk.Reference(c_mp_cache_tag_array_conta____, (0.4925,13.5825)))
c_mp_cache_tag_array_wordl.add(gdstk.Reference(c_mp_cache_tag_array_conta_____, (0.4925,13.5825)))
c_mp_cache_tag_array_wordl.add(gdstk.Reference(c_mp_cache_tag_array_conta______, (0.49,13.58)))
c_mp_cache_tag_array_wordl.add(gdstk.Reference(c_mp_cache_tag_array_conta____, (0.4925,16.3125)))
c_mp_cache_tag_array_wordl.add(gdstk.Reference(c_mp_cache_tag_array_conta_____, (0.4925,16.3125)))
c_mp_cache_tag_array_wordl.add(gdstk.Reference(c_mp_cache_tag_array_conta______, (0.49,16.31)))
c_mp_cache_tag_array_wordl.add(gdstk.Reference(c_mp_cache_tag_array_conta____, (0.4925,16.3125)))
c_mp_cache_tag_array_wordl.add(gdstk.Reference(c_mp_cache_tag_array_conta_____, (0.4925,16.3125)))
c_mp_cache_tag_array_wordl.add(gdstk.Reference(c_mp_cache_tag_array_conta______, (0.49,16.31)))
c_mp_cache_tag_array_wordl.add(gdstk.Reference(c_mp_cache_tag_array_conta____, (0.4925,19.0425)))
c_mp_cache_tag_array_wordl.add(gdstk.Reference(c_mp_cache_tag_array_conta_____, (0.4925,19.0425)))
c_mp_cache_tag_array_wordl.add(gdstk.Reference(c_mp_cache_tag_array_conta______, (0.49,19.04)))
c_mp_cache_tag_array_wordl.add(gdstk.Reference(c_mp_cache_tag_array_conta____, (0.4925,19.0425)))
c_mp_cache_tag_array_wordl.add(gdstk.Reference(c_mp_cache_tag_array_conta_____, (0.4925,19.0425)))
c_mp_cache_tag_array_wordl.add(gdstk.Reference(c_mp_cache_tag_array_conta______, (0.49,19.04)))
c_mp_cache_tag_array_wordl.add(gdstk.Reference(c_mp_cache_tag_array_conta____, (0.4925,21.7725)))
c_mp_cache_tag_array_wordl.add(gdstk.Reference(c_mp_cache_tag_array_conta_____, (0.4925,21.7725)))
c_mp_cache_tag_array_wordl.add(gdstk.Reference(c_mp_cache_tag_array_conta______, (0.49,21.77)))
c_mp_cache_tag_array_wordl.add(gdstk.Label('en', (1.0075,10.92), layer=13, texttype=0))
c_mp_cache_tag_array_wordl.add(gdstk.Label('in_0', (0.7925,0.4275), layer=11, texttype=0))
c_mp_cache_tag_array_wordl.add(gdstk.Label('wl_0', (2.4,0.6275), layer=11, texttype=0))
c_mp_cache_tag_array_wordl.add(gdstk.Label('in_1', (0.7925,2.3025), layer=11, texttype=0))
c_mp_cache_tag_array_wordl.add(gdstk.Label('wl_1', (2.4,2.1025), layer=11, texttype=0))
c_mp_cache_tag_array_wordl.add(gdstk.Label('in_2', (0.7925,3.1575), layer=11, texttype=0))
c_mp_cache_tag_array_wordl.add(gdstk.Label('wl_2', (2.4,3.3575), layer=11, texttype=0))
c_mp_cache_tag_array_wordl.add(gdstk.Label('in_3', (0.7925,5.0325), layer=11, texttype=0))
c_mp_cache_tag_array_wordl.add(gdstk.Label('wl_3', (2.4,4.8325), layer=11, texttype=0))
c_mp_cache_tag_array_wordl.add(gdstk.Label('in_4', (0.7925,5.8875), layer=11, texttype=0))
c_mp_cache_tag_array_wordl.add(gdstk.Label('wl_4', (2.4,6.0875), layer=11, texttype=0))
c_mp_cache_tag_array_wordl.add(gdstk.Label('in_5', (0.7925,7.7625), layer=11, texttype=0))
c_mp_cache_tag_array_wordl.add(gdstk.Label('wl_5', (2.4,7.5625), layer=11, texttype=0))
c_mp_cache_tag_array_wordl.add(gdstk.Label('in_6', (0.7925,8.6175), layer=11, texttype=0))
c_mp_cache_tag_array_wordl.add(gdstk.Label('wl_6', (2.4,8.8175), layer=11, texttype=0))
c_mp_cache_tag_array_wordl.add(gdstk.Label('in_7', (0.7925,10.4925), layer=11, texttype=0))
c_mp_cache_tag_array_wordl.add(gdstk.Label('wl_7', (2.4,10.2925), layer=11, texttype=0))
c_mp_cache_tag_array_wordl.add(gdstk.Label('in_8', (0.7925,11.3475), layer=11, texttype=0))
c_mp_cache_tag_array_wordl.add(gdstk.Label('wl_8', (2.4,11.5475), layer=11, texttype=0))
c_mp_cache_tag_array_wordl.add(gdstk.Label('in_9', (0.7925,13.2225), layer=11, texttype=0))
c_mp_cache_tag_array_wordl.add(gdstk.Label('wl_9', (2.4,13.0225), layer=11, texttype=0))
c_mp_cache_tag_array_wordl.add(gdstk.Label('in_10', (0.7925,14.0775), layer=11, texttype=0))
c_mp_cache_tag_array_wordl.add(gdstk.Label('wl_10', (2.4,14.2775), layer=11, texttype=0))
c_mp_cache_tag_array_wordl.add(gdstk.Label('in_11', (0.7925,15.9525), layer=11, texttype=0))
c_mp_cache_tag_array_wordl.add(gdstk.Label('wl_11', (2.4,15.7525), layer=11, texttype=0))
c_mp_cache_tag_array_wordl.add(gdstk.Label('in_12', (0.7925,16.8075), layer=11, texttype=0))
c_mp_cache_tag_array_wordl.add(gdstk.Label('wl_12', (2.4,17.0075), layer=11, texttype=0))
c_mp_cache_tag_array_wordl.add(gdstk.Label('in_13', (0.7925,18.6825), layer=11, texttype=0))
c_mp_cache_tag_array_wordl.add(gdstk.Label('wl_13', (2.4,18.4825), layer=11, texttype=0))
c_mp_cache_tag_array_wordl.add(gdstk.Label('in_14', (0.7925,19.5375), layer=11, texttype=0))
c_mp_cache_tag_array_wordl.add(gdstk.Label('wl_14', (2.4,19.7375), layer=11, texttype=0))
c_mp_cache_tag_array_wordl.add(gdstk.Label('in_15', (0.7925,21.4125), layer=11, texttype=0))
c_mp_cache_tag_array_wordl.add(gdstk.Label('wl_15', (2.4,21.2125), layer=11, texttype=0))
c_mp_cache_tag_array_wordl.add(gdstk.Label('vdd', (3.25,10.92), layer=17, texttype=0))
c_mp_cache_tag_array_wordl.add(gdstk.Label('gnd', (0.56,10.92), layer=17, texttype=0))

lib.write_gds('mp_cache_tag_array_wordline_driver_array.gds')
